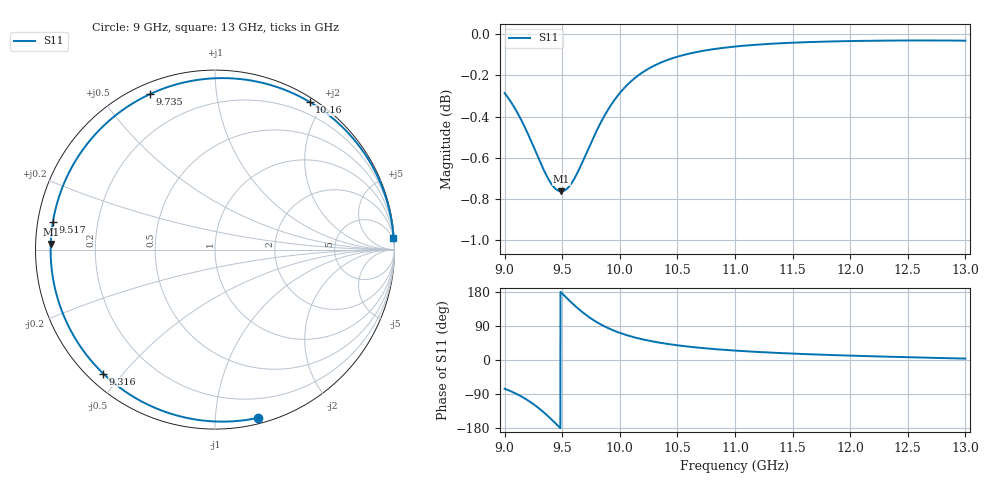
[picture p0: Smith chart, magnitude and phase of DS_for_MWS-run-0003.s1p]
! TOUCHSTONE file generated by CST DESIGN STUDIO
! Date and time: Tue Feb  4 18:19:04 2025
! Project name: C:\Work\MatlabApps\UnitCellOptimizationMatlab\CST\unitcell.cst
! Tree item: Tasks\Sweep1\SPara1\S-Parameters
! Header version: 2024
! Port assignment regex: !\s*Touchstone port\s*([0-9]+)\s*=\s*(CST MWS port|CST DES external port|CST DES block port)\s*(.+)\s* \(\"(.*)\"\)(\s*mode\s*([0-9]+))?.*
! Touchstone port assignment:
! Touchstone port 1 = CST DES external port 1 ("")
# GHz S MA R 50
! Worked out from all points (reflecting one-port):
!   4001 points, 9 GHz to 13 GHz, reference 50 ohm
!   lowest |S11| = -0.8 dB at 9.491 GHz (marker M1), VSWR 22.77, Z = 2.2 + j0.858 ohm
!   phase of S11 starts at -76 deg and turns -281 deg over the sweep
!   S11 on the Smith chart (normalised r, x): 9 GHz: 0.04, -1.28; 9.316 GHz: 0.04, -0.44; 9.517 GHz: 0.04, +0.09; 9.735 GHz: 0.05, +0.66; 10.16 GHz: 0.05, +1.83; 13 GHz: 2, +31
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9  0.9677 -75.8
9.081  0.9603 -86.2
9.181  0.9486 -102.5
9.251  0.9391 -116.7
9.316  0.93 -132.0
9.362  0.9242 -144.1
9.411  0.9193 -158.0
9.452  0.9167 -170.2
9.491  0.9159 178.0
9.5  0.9159 175.3
9.517  0.9162 170.2
9.57  0.9191 154.5
9.63  0.9252 137.8
9.682  0.9318 124.7
9.735  0.939 112.7
9.789  0.9462 102.0
9.848  0.9533 91.8
9.923  0.9612 80.9
10  0.9677 71.7
10.158  0.9772 57.4
10.313  0.9831 47.4
10.5  0.9875 38.8
10.722  0.9908 31.4
11  0.9932 24.8
11.5  0.9953 16.9
12  0.9962 11.5
12.5  0.9966 7.3
13  0.9964 3.7
